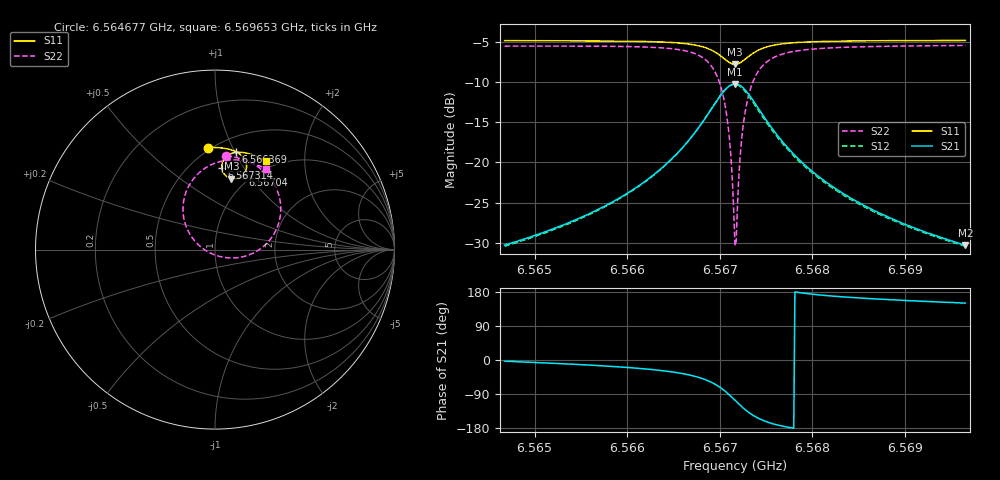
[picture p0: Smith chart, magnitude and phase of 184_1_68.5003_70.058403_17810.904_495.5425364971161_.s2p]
#  HZ  S  RI  R  50.00
! Rohde & Schwarz Vector Network Analyzer
! Rohde-Schwarz,ZNB20-2Port,1311601062101988,3.16
! Created: UTC 3/20/2024, 5:11:57 PM
! freq[Hz]  re:S11  im:S11  re:S21  im:S21  re:S12  im:S12  re:S22  im:S22
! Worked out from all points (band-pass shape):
!   401 points, 6.564677 GHz to 6.569653 GHz, reference 50 ohm
!   highest |S21| = -10.26 dB at 6.567165 GHz (marker M1); lowest = -30.3 dB at 6.569653 GHz (marker M2)
!   |S21| within 3 dB of the highest: 6.566917 GHz to 6.567414 GHz (496.6 kHz wide, 0.00756 % of centre)
!   lowest |S11| = -7.8 dB at 6.567165 GHz (marker M3), VSWR 2.36, Z = 42.6 + j40.3 ohm
!   |S11| at or under -10 dB: nowhere
!   |S22| runs from -30.4 to -5.5 dB; largest |S21 - S12| = 0.015
!   S11 on the Smith chart (normalised r, x): 6.564677 GHz: 0.48, +0.81; 6.566369 GHz: 0.64, +1.01; 6.56704 GHz: 0.91, +0.94; 6.567314 GHz: 0.70, +0.80; 6.569653 GHz: 0.89, +1.31
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6.5646766e9  -0.038 0.5679  0.0306 -0.00161  0.0301 -0.00216  0.0632 0.5224
6.5655102e9  0.0315 0.5668  0.0447 -0.00986  0.0439 -0.0103  0.1459 0.5055
6.5663437e9  0.1128 0.5476  0.0792 -0.0406  0.078 -0.0415  0.2661 0.4409
6.5663686e9  0.1158 0.5463  0.0809 -0.0427  0.0797 -0.0436  0.2711 0.4366
6.5666423e9  0.1494 0.5234  0.1038 -0.0812  0.1023 -0.0828  0.3317 0.3609
6.5668413e9  0.1727 0.4862  0.1161 -0.1464  0.1131 -0.1495  0.3665 0.2352
6.5669533e9  0.1745 0.4495  0.1007 -0.2107  0.095 -0.2147  0.342 0.113
6.5670404e9  0.1567 0.4151  0.0529 -0.269  0.043 -0.272  0.2534 0.00473
6.5671026e9  0.1286 0.3969  -0.00954 -0.2975  -0.0226 -0.2967  0.1376 -0.0434
6.5671274e9  0.1142 0.3938  -0.0396 -0.3008  -0.0533 -0.2979  0.0826 -0.0466
6.5671523e9  0.0991 0.3939  -0.0707 -0.2982  -0.0844 -0.293  0.0273 -0.0386
6.5671648e9  0.0916 0.395  -0.0863 -0.2945  -0.0995 -0.288  7.99e-05 -0.0303
6.5671772e9  0.0842 0.3971  -0.1012 -0.2893  -0.1141 -0.2817  -0.0259 -0.0191
6.5671896e9  0.0772 0.4001  -0.1155 -0.2828  -0.1276 -0.274  -0.0503 -0.00556
6.567227e9  0.059 0.4128  -0.1528 -0.2559  -0.1623 -0.2445  -0.1119 0.047
6.5672518e9  0.0499 0.4238  -0.1717 -0.2339  -0.1791 -0.2214  -0.1417 0.0887
6.567314e9  0.0386 0.4536  -0.1974 -0.1748  -0.1997 -0.1623  -0.1769 0.1954
6.5674136e9  0.0449 0.4935  -0.1942 -0.0976  -0.1922 -0.0883  -0.1582 0.3291
6.5675629e9  0.0727 0.5254  -0.1592 -0.0354  -0.1556 -0.0301  -0.0823 0.4333
6.5679983e9  0.1408 0.5423  -0.0873 0.00955  -0.0851 0.0109  0.0741 0.4987
6.5688318e9  0.2223 0.5238  -0.0422 0.0162  -0.0414 0.0164  0.206 0.4834
6.5696529e9  0.2846 0.4947  -0.0265 0.0152  -0.0259 0.0153  0.2825 0.4503
